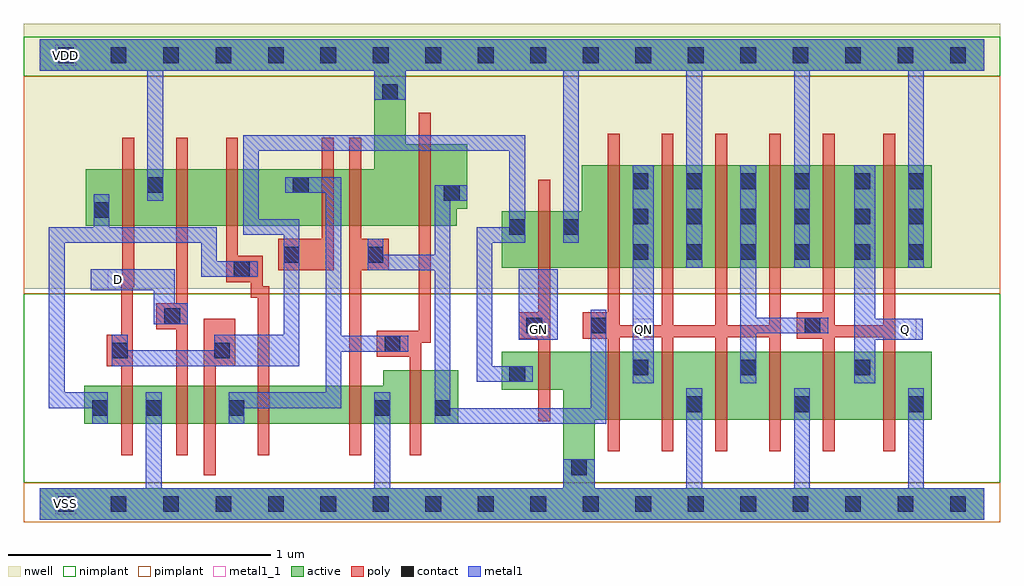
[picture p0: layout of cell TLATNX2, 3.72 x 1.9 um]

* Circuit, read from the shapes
.subckt TLATNX2 D GN Q QN VDD VSS
M1 VSS n1 n2 VSS nfet w=0.145u l=0.045u
M2 n3 D VSS VSS nfet w=0.145u l=0.045u
M3 n4 n1 n3 VSS nfet w=0.145u l=0.045u
M4 n5 n2 n4 VSS nfet w=0.145u l=0.045u
M5 VSS n6 n5 VSS nfet w=0.145u l=0.045u
M6 n6 n4 VSS VSS nfet w=0.205u l=0.045u
M7 VSS GN n1 VSS nfet w=0.145u l=0.045u
M8 QN n6 VSS VSS nfet w=0.26u l=0.045u m=2
M9 n7 n6 VSS VSS nfet w=0.26u l=0.045u m=2
M10 Q n7 VSS VSS nfet w=0.26u l=0.045u m=2
M11 VDD n1 n2 VDD pfet w=0.215u l=0.045u
M12 n8 D VDD VDD pfet w=0.215u l=0.045u
M13 n4 n2 n8 VDD pfet w=0.215u l=0.045u
M14 n9 n1 n4 VDD pfet w=0.215u l=0.045u
M15 VDD n6 n9 VDD pfet w=0.215u l=0.045u
M16 n6 n4 VDD VDD pfet w=0.31u l=0.045u
M17 VDD GN n1 VDD pfet w=0.215u l=0.045u
M18 QN n6 VDD VDD pfet w=0.39u l=0.045u m=2
M19 n7 n6 VDD VDD pfet w=0.39u l=0.045u m=2
M20 Q n7 VDD VDD pfet w=0.39u l=0.045u m=2
.ends

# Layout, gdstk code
import gdstk
lib = gdstk.Library(unit=1e-6, precision=5e-10)
def R(c, l, rs):  # rectangles x0, y0, x1, y1
    for r in rs: c.add(gdstk.rectangle(r[:2], r[2:], *l))
def A(c, l, x, y, w, h, nx, ny, dx, dy):  # array of equal rectangles
    R(c, l, [(x+i*dx, y+j*dy, x+i*dx+w, y+j*dy+h) for i in range(nx) for j in range(ny)])
def P(c, l, *ps):  # polygons
    for p in ps: c.add(gdstk.Polygon(p, *l))
active = (1, 0)
nwell = (2, 0)
poly = (3, 0)
nimplant = (4, 0)
pimplant = (5, 0)
contact = (6, 0)
metal1 = (7, 0)
metal1_1 = (7, 1)

tlatnx2 = lib.new_cell('TLATNX2')
P(tlatnx2, active, [(0,1.77),(3.6,1.77),(3.6,1.65),(1.395,1.65),(1.395,1.37),(1.63,1.37),(1.63,1.125),(1.59,1.125),(1.59,1.06),(0.175,1.06),(0.175,1.275),(1.275,1.275),(1.275,1.65),(0,1.65)],
  [(2.065,1.29),(3.4,1.29),(3.4,0.9),(1.76,0.9),(1.76,1.115),(2.065,1.115)],
  [(1.76,0.58),(3.4,0.58),(3.4,0.32),(2.115,0.32),(2.115,0.06),(3.6,0.06),(3.6,-0.06),(0,-0.06),(0,0.06),(1.995,0.06),(1.995,0.435),(1.76,0.435)],
  [(1.31,0.51),(1.595,0.51),(1.595,0.305),(0.17,0.305),(0.17,0.45),(1.31,0.45)])
R(tlatnx2, nwell, [(-0.06,0.82,3.66,1.83)])
P(tlatnx2, poly, [(0.315,1.395),(0.36,1.395),(0.36,0.825),(0.355,0.825),(0.355,0.185),(0.31,0.185),(0.31,0.525),(0.255,0.525),(0.255,0.645),(0.31,0.645),(0.31,0.87),(0.315,0.87)],
  [(0.52,1.395),(0.565,1.395),(0.565,0.185),(0.52,0.185),(0.52,0.665),(0.445,0.665),(0.445,0.765),(0.52,0.765)],
  [(0.71,1.395),(0.755,1.395),(0.755,0.945),(0.85,0.945),(0.85,0.83),(0.875,0.83),(0.875,0.185),(0.83,0.185),(0.83,0.785),(0.805,0.785),(0.805,0.845),(0.71,0.845)],
  [(1.075,1.395),(1.12,1.395),(1.12,0.89),(0.91,0.89),(0.91,1.01),(1.075,1.01)],
  [(1.18,1.395),(1.225,1.395),(1.225,1.01),(1.33,1.01),(1.33,0.89),(1.225,0.89),(1.225,0.185),(1.18,0.185)],
  [(1.445,1.49),(1.49,1.49),(1.49,0.615),(1.455,0.615),(1.455,0.185),(1.41,0.185),(1.41,0.56),(1.285,0.56),(1.285,0.66),(1.445,0.66)],
  [(2.165,1.41),(2.21,1.41),(2.21,0.68),(2.37,0.68),(2.37,1.41),(2.415,1.41),(2.415,0.68),(2.575,0.68),(2.575,1.41),(2.62,1.41),(2.62,0.68),(2.78,0.68),(2.78,1.41),(2.825,1.41),(2.825,0.2),(2.78,0.2),(2.78,0.635),(2.62,0.635),(2.62,0.2),(2.575,0.2),(2.575,0.635),(2.415,0.635),(2.415,0.2),(2.37,0.2),(2.37,0.635),(2.21,0.635),(2.21,0.2),(2.165,0.2),(2.165,0.63),(2.07,0.63),(2.07,0.73),(2.165,0.73)],
  [(2.985,1.41),(3.03,1.41),(3.03,0.68),(3.215,0.68),(3.215,1.41),(3.26,1.41),(3.26,0.2),(3.215,0.2),(3.215,0.635),(3.03,0.635),(3.03,0.2),(2.985,0.2),(2.985,0.63),(2.885,0.63),(2.885,0.73),(2.985,0.73)],
  [(1.9,1.235),(1.945,1.235),(1.945,0.315),(1.9,0.315),(1.9,0.63),(1.825,0.63),(1.825,0.73),(1.9,0.73)],
  [(0.625,0.705),(0.745,0.705),(0.745,0.525),(0.67,0.525),(0.67,0.11),(0.625,0.11)])
R(tlatnx2, nimplant, [(-0.06,0.08,3.66,0.8), (-0.06,1.63,3.66,1.78)])
R(tlatnx2, pimplant, [(-0.06,-0.07,3.66,0.08), (-0.06,0.8,3.66,1.63)])
A(tlatnx2, contact, 0.07, -0.03, 0.06, 0.06, 18, 2, 0.2, 1.71)
A(tlatnx2, contact, 2.26, 0.93, 0.06, 0.06, 4, 3, 0.205, 0.135)
A(tlatnx2, contact, 3.105, 0.93, 0.06, 0.06, 1, 3, 0, 0.135)
A(tlatnx2, contact, 3.31, 0.93, 0.06, 0.06, 1, 3, 0, 0.135)
R(tlatnx2, contact, [(2.025,0.11,2.085,0.17), (0.2,0.335,0.26,0.395), (0.405,0.335,0.465,0.395), (0.72,0.335,0.78,0.395), (1.275,0.335,1.335,0.395), (1.505,0.335,1.565,0.395), (2.465,0.35,2.525,0.41), (2.875,0.35,2.935,0.41), (3.31,0.35,3.37,0.41), (1.79,0.465,1.85,0.525), (2.26,0.49,2.32,0.55), (2.67,0.49,2.73,0.55), (3.105,0.49,3.165,0.55), (0.275,0.555,0.335,0.615), (0.665,0.555,0.725,0.615), (1.315,0.58,1.375,0.64), (1.855,0.65,1.915,0.71), (2.1,0.65,2.16,0.71), (2.915,0.65,2.975,0.71), (0.475,0.685,0.535,0.745), (0.74,0.865,0.8,0.925), (0.93,0.92,0.99,0.98), (1.25,0.92,1.31,0.98), (1.79,1.025,1.85,1.085), (1.995,1.025,2.055,1.085), (0.205,1.09,0.265,1.15), (1.54,1.155,1.6,1.215), (0.41,1.185,0.47,1.245), (0.965,1.185,1.025,1.245), (1.305,1.54,1.365,1.6)])
R(tlatnx2, metal1, [(2.26,0.46,2.34,1.29), (1.825,0.625,1.975,0.895)])
P(tlatnx2, metal1, [(0,1.77),(3.6,1.77),(3.6,1.65),(3.37,1.65),(3.37,0.9),(3.31,0.9),(3.31,1.65),(2.935,1.65),(2.935,0.9),(2.875,0.9),(2.875,1.65),(2.525,1.65),(2.525,0.9),(2.465,0.9),(2.465,1.65),(2.055,1.65),(2.055,0.995),(1.995,0.995),(1.995,1.65),(1.395,1.65),(1.395,1.54),(1.275,1.54),(1.275,1.65),(0.47,1.65),(0.47,1.155),(0.41,1.155),(0.41,1.65),(0,1.65)],
  [(0.205,1.18),(0.265,1.18),(0.265,1.055),(0.675,1.055),(0.675,0.925),(0.83,0.925),(0.83,0.865),(0.615,0.865),(0.615,0.995),(0.095,0.995),(0.095,0.425),(0.26,0.425),(0.26,0.305),(0.2,0.305),(0.2,0.365),(0.035,0.365),(0.035,1.055),(0.205,1.055)],
  [(0.775,1.405),(1.85,1.405),(1.85,0.995),(1.725,0.995),(1.725,0.525),(1.88,0.525),(1.88,0.465),(1.665,0.465),(1.665,1.055),(1.79,1.055),(1.79,1.345),(0.835,1.345),(0.835,1.085),(0.99,1.085),(0.99,0.525),(0.275,0.525),(0.275,0.645),(0.335,0.645),(0.335,0.585),(0.665,0.585),(0.665,0.645),(0.93,0.645),(0.93,1.025),(0.775,1.025)],
  [(0.935,1.245),(1.15,1.245),(1.15,0.64),(1.405,0.64),(1.405,0.58),(1.15,0.58),(1.15,0.365),(0.78,0.365),(0.78,0.305),(0.72,0.305),(0.72,0.425),(1.09,0.425),(1.09,1.185),(0.935,1.185)],
  [(0.195,0.895),(0.515,0.895),(0.515,0.765),(0.565,0.765),(0.565,0.685),(0.435,0.685),(0.435,0.815),(0.195,0.815)],
  [(1.505,1.215),(1.63,1.215),(1.63,1.155),(1.565,1.155),(1.565,0.365),(2.1,0.365),(2.1,0.74),(2.16,0.74),(2.16,0.305),(1.505,0.305),(1.505,0.89),(1.25,0.89),(1.25,1.01),(1.31,1.01),(1.31,0.95),(1.505,0.95)],
  [(0.405,0.425),(0.465,0.425),(0.465,0.06),(1.275,0.06),(1.275,0.425),(1.335,0.425),(1.335,0.06),(1.995,0.06),(1.995,0.17),(2.115,0.17),(2.115,0.06),(2.465,0.06),(2.465,0.44),(2.525,0.44),(2.525,0.06),(2.875,0.06),(2.875,0.44),(2.935,0.44),(2.935,0.06),(3.31,0.06),(3.31,0.44),(3.37,0.44),(3.37,0.06),(3.6,0.06),(3.6,-0.06),(0,-0.06),(0,0.06),(0.405,0.06)],
  [(2.67,1.29),(2.73,1.29),(2.73,0.71),(3.005,0.71),(3.005,0.65),(2.73,0.65),(2.73,0.46),(2.67,0.46)],
  [(3.105,1.29),(3.185,1.29),(3.185,0.705),(3.365,0.705),(3.365,0.625),(3.185,0.625),(3.185,0.46),(3.105,0.46)])
R(tlatnx2, metal1_1, [(0.06,-0.04,0.14,0.04), (1.86,0.625,1.94,0.705), (2.26,0.625,2.34,0.705), (3.26,0.625,3.34,0.705), (0.26,0.815,0.34,0.895), (0.06,1.67,0.14,1.75)])
tlatnx2.add(gdstk.Label('VSS', (0.1,0), layer=7, texttype=1))
tlatnx2.add(gdstk.Label('VDD', (0.1,1.71), layer=7, texttype=1))
tlatnx2.add(gdstk.Label('D', (0.3,0.855), layer=7, texttype=1))
tlatnx2.add(gdstk.Label('GN', (1.9,0.665), layer=7, texttype=1))
tlatnx2.add(gdstk.Label('QN', (2.3,0.665), layer=7, texttype=1))
tlatnx2.add(gdstk.Label('Q', (3.3,0.665), layer=7, texttype=1))
tlatnx2.add(gdstk.Label('TLATNX2', (0,0), layer=63, texttype=0))

lib.write_gds('TLATNX2.gds')
